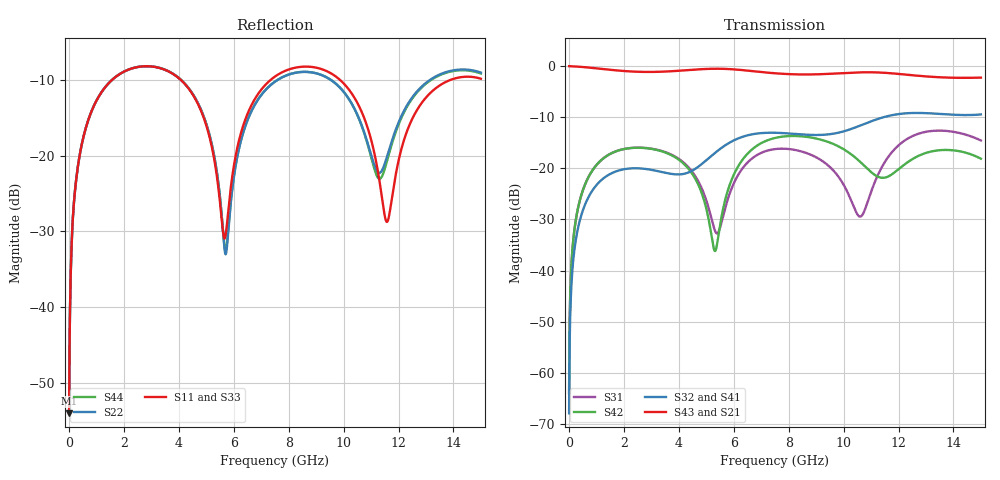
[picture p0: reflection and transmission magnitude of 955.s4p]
! Created with skrf 1.8.0 (http://scikit-rf.org).
# GHz S RI R 50.0
!freq ReS11 ImS11 ReS12 ImS12 ReS13 ImS13
! ReS14 ImS14
! ReS21 ImS21 ReS22 ImS22 ReS23 ImS23
! ReS24 ImS24
! ReS31 ImS31 ReS32 ImS32 ReS33 ImS33
! ReS34 ImS34
! ReS41 ImS41 ReS42 ImS42 ReS43 ImS43
! ReS44 ImS44
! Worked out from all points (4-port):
!   2499 points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, 5 MHz to 15 GHz, reference 50 ohm
!   strongest paths, dB at 5 MHz, 3.476 GHz, 7.19 GHz, 11.1 GHz, 15 GHz:
!     S43: 0.0, -1.1, -1.3, -1.2, -2.3
!     S21: 0.0, -1.1, -1.3, -1.2, -2.3
!     S32: -67.9, -20.8, -13.1, -10.6, -9.5
!     S41: -67.9, -20.9, -13.1, -10.6, -9.5
!     S42: -64.0, -16.8, -14.6, -21.1, -18.1
!     S31: -64.0, -16.8, -16.6, -23.2, -14.6
!   lowest |S11| = -54.1 dB at 5 MHz (marker M1), VSWR 1.00, Z = 50.2 + j0.12 ohm
!   |S11| at or under -10 dB: start of sweep to 1.551 GHz; 4.089 GHz to 7.325 GHz (3.236 GHz wide, 56.7 % of centre); 9.888 GHz to 13.85 GHz (3.964 GHz wide, 33.4 % of centre)
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0.005  0.00158 0.0012  0.9984 -0.00307  7.91e-05 0.000629  -7.68e-05 -0.000394
       0.9984 -0.00307  0.00158 0.0012  -7.68e-05 -0.000394  7.91e-05 0.000629
       7.91e-05 0.000629  -7.68e-05 -0.000394  0.00158 0.0012  0.9984 -0.00307
       -7.68e-05 -0.000394  7.91e-05 0.000629  0.9984 -0.00307  0.00158 0.0012
0.3126303  0.0225 0.0791  0.9693 -0.1913  0.0103 0.0375  -0.00858 -0.0233
           0.9693 -0.1913  0.0225 0.0791  -0.00858 -0.0233  0.0103 0.0375
           0.0103 0.0375  -0.00858 -0.0233  0.0225 0.0791  0.9693 -0.1913
           -0.00858 -0.0233  0.0103 0.0375  0.9693 -0.1913  0.0225 0.0791
1.569404  0.2616 0.1816  0.5676 -0.7189  0.126 0.0642  -0.0895 -0.00917
          0.5676 -0.7189  0.2616 0.1817  -0.0895 -0.00912  0.1256 0.0648
          0.126 0.0642  -0.0895 -0.00912  0.2616 0.1816  0.5677 -0.7188
          -0.0895 -0.00917  0.1256 0.0648  0.5677 -0.7188  0.2616 0.1817
5.546061  0.0296 -0.0277  -0.9304 -0.1439  -0.0222 0.0186  -0.0205 0.1565
          -0.9304 -0.1439  0.0246 -0.0357  -0.0199 0.1567  0.0213 0.0247
          -0.0222 0.0186  -0.0199 0.1567  0.0284 -0.0276  -0.9304 -0.144
          -0.0205 0.1565  0.0213 0.0247  -0.9304 -0.144  0.0258 -0.0353
8.884952  0.3818 -0.063  0.0264 0.8289  0.1291 -0.0314  0.2003 -0.0658
          0.0264 0.8289  0.3547 -0.0247  0.2008 -0.0681  0.1298 -0.1502
          0.1291 -0.0314  0.2008 -0.0681  0.3817 -0.0582  0.0259 0.829
          0.2003 -0.0658  0.1298 -0.1502  0.0259 0.829  0.3549 -0.0294
11.57982  0.0364 -0.0035  0.8548 0.0521  0.0845 0.0908  0.0126 -0.3231
          0.8548 0.0521  0.0845 0.051  0.00824 -0.3226  -0.052 0.0637
          0.0845 0.0908  0.00824 -0.3226  0.0423 -0.00476  0.855 0.0534
          0.0126 -0.3231  -0.052 0.0637  0.855 0.0534  0.0777 0.0496
15  0.3193 -0.0545  -0.1019 -0.7627  0.0681 -0.1744  -0.3255 0.0848
    -0.1019 -0.7627  0.3438 -0.0914  -0.3244 0.0892  0.0598 -0.1088
    0.0681 -0.1744  -0.3244 0.0892  0.314 -0.0536  -0.1016 -0.7649
    -0.3255 0.0848  0.0598 -0.1088  -0.1016 -0.7649  0.3389 -0.0893
